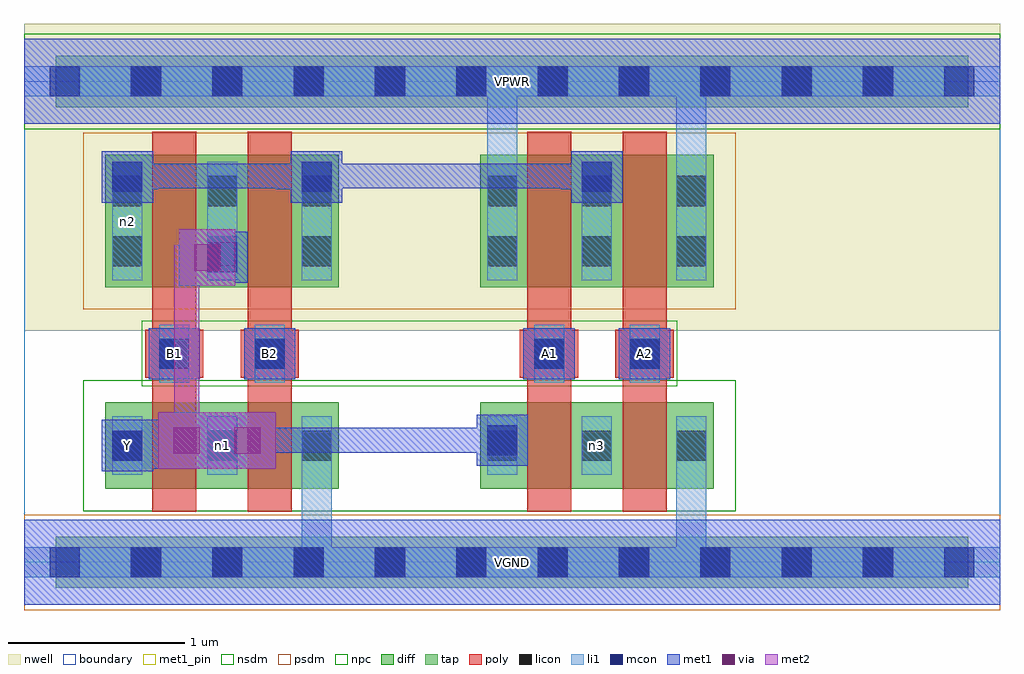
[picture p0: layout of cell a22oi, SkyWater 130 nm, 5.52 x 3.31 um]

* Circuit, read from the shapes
.subckt a22oi A1 A2 B1 B2 VGND VPWR Y n1 n2 n3
XM1 n1 B1 Y VGND sky130_fd_pr__nfet_01v8 w=0.49 l=0.25
XM2 VGND B2 n1 VGND sky130_fd_pr__nfet_01v8 w=0.49 l=0.25
XM3 n3 A1 Y VGND sky130_fd_pr__nfet_01v8 w=0.49 l=0.25
XM4 VGND A2 n3 VGND sky130_fd_pr__nfet_01v8 w=0.49 l=0.25
XM5 Y B1 n2 VPWR sky130_fd_pr__pfet_01v8 w=0.75 l=0.25
XM6 n2 B2 Y VPWR sky130_fd_pr__pfet_01v8 w=0.75 l=0.25
XM7 n2 A1 VPWR VPWR sky130_fd_pr__pfet_01v8 w=0.75 l=0.25
XM8 VPWR A2 n2 VPWR sky130_fd_pr__pfet_01v8 w=0.75 l=0.25
.ends

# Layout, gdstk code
import gdstk
lib = gdstk.Library(unit=1e-6, precision=1e-09)
def R(c, l, rs):  # rectangles x0, y0, x1, y1
    for r in rs: c.add(gdstk.rectangle(r[:2], r[2:], *l))
def A(c, l, x, y, w, h, nx, ny, dx, dy):  # array of equal rectangles
    R(c, l, [(x+i*dx, y+j*dy, x+i*dx+w, y+j*dy+h) for i in range(nx) for j in range(ny)])
nwell = (64, 20)
diff = (65, 20)
tap = (65, 44)
poly = (66, 20)
licon = (66, 44)
li1 = (67, 20)
mcon = (67, 44)
met1_pin = (68, 16)
met1 = (68, 20)
via = (68, 44)
met2 = (69, 20)
nsdm = (93, 44)
psdm = (94, 20)
npc = (95, 20)
boundary = (235, 4)

a22oi = lib.new_cell('a22oi')
R(a22oi, nwell, [(0,1.31,5.52,3.045)])
R(a22oi, diff, [(0.46,0.415,1.78,0.905), (2.58,0.415,3.9,0.905), (0.46,1.555,1.78,2.305), (2.58,1.555,3.9,2.305)])
R(a22oi, tap, [(0.18,-0.145,5.34,0.145), (0.18,2.575,5.34,2.865)])
R(a22oi, poly, [(0.725,0.285,0.975,2.435), (1.265,0.285,1.515,2.435), (2.845,0.285,3.095,2.435), (3.385,0.285,3.635,2.435), (0.685,1.045,1.015,1.315), (1.225,1.045,1.555,1.315), (2.805,1.045,3.135,1.315), (3.345,1.045,3.675,1.315)])
A(a22oi, licon, 0.605, -0.085, 0.17, 0.17, 10, 2, 0.46, 2.72)
A(a22oi, licon, 0.5, 0.575, 0.17, 0.17, 3, 2, 0.535, 1.1)
A(a22oi, licon, 2.62, 0.575, 0.17, 0.17, 3, 2, 0.535, 1.1)
A(a22oi, licon, 0.5, 2.015, 0.17, 0.17, 3, 1, 0.535, 0)
A(a22oi, licon, 2.62, 2.015, 0.17, 0.17, 3, 1, 0.535, 0)
R(a22oi, licon, [(0.765,1.095,0.935,1.265), (1.305,1.095,1.475,1.265), (2.885,1.095,3.055,1.265), (3.425,1.095,3.595,1.265)])
A(a22oi, li1, 0.5, 0.495, 0.17, 0.33, 3, 1, 0.535, 0)
A(a22oi, li1, 2.62, 0.495, 0.17, 0.33, 3, 1, 0.535, 0)
A(a22oi, li1, 0.5, 1.595, 0.17, 0.67, 3, 1, 0.535, 0)
A(a22oi, li1, 2.62, 1.595, 0.17, 0.67, 3, 1, 0.535, 0)
R(a22oi, li1, [(0,-0.085,5.52,0.085), (1.57,-0.085,1.74,0.825), (3.69,-0.085,3.86,0.825), (0.765,1.015,0.935,1.345), (1.305,1.015,1.475,1.345), (2.885,1.015,3.055,1.345), (3.425,1.015,3.595,1.345), (2.62,1.595,2.79,2.805), (3.69,1.595,3.86,2.805), (0,2.635,5.52,2.805)])
A(a22oi, mcon, 0.145, -0.085, 0.17, 0.17, 12, 2, 0.46, 2.72)
R(a22oi, mcon, [(0.5,0.575,0.67,0.745), (2.62,0.605,2.79,0.775), (0.765,1.095,0.935,1.265), (1.305,1.095,1.475,1.265), (2.885,1.095,3.055,1.265), (3.425,1.095,3.595,1.265), (1.035,1.64,1.205,1.81), (0.5,2.095,0.67,2.265), (1.57,2.095,1.74,2.265), (3.155,2.095,3.325,2.265)])
R(a22oi, met1_pin, [(0,-0.24,5.52,0.24), (0.44,0.515,0.73,0.805), (0.705,1.035,0.995,1.325), (1.245,1.035,1.535,1.325), (2.825,1.035,3.115,1.325), (3.365,1.035,3.655,1.325), (0,2.48,5.52,2.96)])
R(a22oi, met1, [(0,-0.24,5.52,0.24), (0.44,0.515,0.73,0.805), (0.73,0.53,0.76,0.805), (0.76,0.53,1.08,0.85), (1.08,0.53,1.105,0.85), (1.105,0.53,1.425,0.85), (2.56,0.545,2.85,0.835), (0.505,0.62,0.645,0.76), (0.505,0.62,0.99,0.76), (0.99,0.62,1.105,0.76), (1.08,0.62,1.195,0.76), (1.195,0.62,2.6,0.76), (2.46,0.62,2.775,0.76), (0.705,1.035,0.995,1.325), (1.245,1.035,1.535,1.325), (2.825,1.035,3.115,1.325), (3.365,1.035,3.655,1.325), (0.875,1.565,1.195,1.885), (0.975,1.58,1.265,1.87), (0.965,1.655,1.19,1.795), (0.44,2.035,0.73,2.325), (1.51,2.035,1.8,2.325), (3.095,2.035,3.385,2.325), (0.515,2.11,0.76,2.25), (0.62,2.11,0.76,2.255), (1.425,2.11,1.565,2.255), (1.425,2.11,1.725,2.25), (3.035,2.11,3.175,2.255), (3.035,2.11,3.31,2.25), (0.62,2.115,1.565,2.255), (1.425,2.115,3.175,2.255), (0,2.48,5.52,2.96)])
R(a22oi, via, [(0.845,0.615,0.995,0.765), (1.19,0.615,1.34,0.765), (0.96,1.65,1.11,1.8)])
R(a22oi, met2, [(0.76,0.53,1.08,0.85), (1.08,0.53,1.105,0.85), (1.105,0.53,1.425,0.85), (0.85,0.62,0.99,1.795), (0.85,0.62,1.335,0.76), (0.99,0.62,1.105,0.85), (0.875,1.565,1.195,1.885), (0.85,1.655,1.105,1.795)])
R(a22oi, nsdm, [(0.335,0.29,4.025,1.03), (0,2.45,5.52,2.99)])
R(a22oi, psdm, [(0,-0.27,5.52,0.27), (0.335,1.43,4.025,2.43)])
R(a22oi, npc, [(0.665,0.995,3.695,1.365)])
R(a22oi, boundary, [(0,0,5.52,2.72)])
a22oi.add(gdstk.Label('n1', (1.12,0.66), layer=67, texttype=5))
a22oi.add(gdstk.Label('n3', (3.24,0.66), layer=67, texttype=5))
a22oi.add(gdstk.Label('n2', (0.585,1.93), layer=67, texttype=5))
a22oi.add(gdstk.Label('A1', (2.97,1.18), layer=68, texttype=5))
a22oi.add(gdstk.Label('A2', (3.51,1.18), layer=68, texttype=5))
a22oi.add(gdstk.Label('B1', (0.85,1.18), layer=68, texttype=5))
a22oi.add(gdstk.Label('B2', (1.39,1.18), layer=68, texttype=5))
a22oi.add(gdstk.Label('Y', (0.585,0.66), layer=68, texttype=5))
a22oi.add(gdstk.Label('VPWR', (2.76,2.72), layer=68, texttype=5))
a22oi.add(gdstk.Label('VGND', (2.76,0), layer=68, texttype=5))
a22oi.add(gdstk.Label('A1', (2.97,1.18), layer=68, texttype=16))
a22oi.add(gdstk.Label('A2', (3.51,1.18), layer=68, texttype=16))
a22oi.add(gdstk.Label('B1', (0.85,1.18), layer=68, texttype=16))
a22oi.add(gdstk.Label('B2', (1.39,1.18), layer=68, texttype=16))
a22oi.add(gdstk.Label('Y', (0.585,0.66), layer=68, texttype=16))
a22oi.add(gdstk.Label('VPWR', (2.76,2.72), layer=68, texttype=16))
a22oi.add(gdstk.Label('VGND', (2.76,0), layer=68, texttype=16))

lib.write_gds('a22oi.gds')
